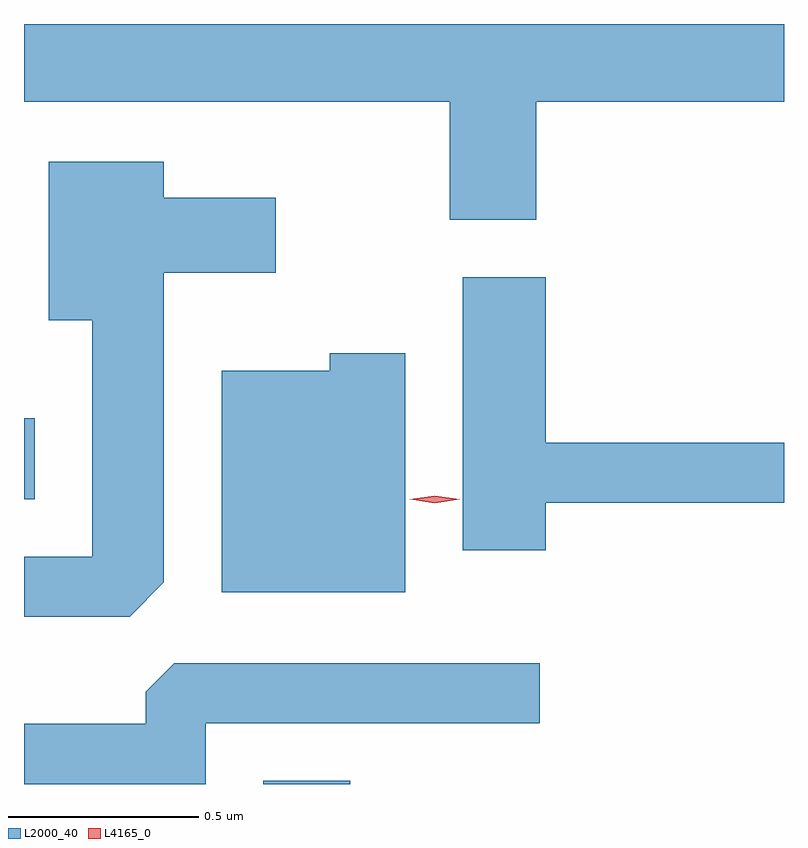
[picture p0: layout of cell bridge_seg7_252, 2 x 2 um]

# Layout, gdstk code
import gdstk
lib = gdstk.Library(unit=1e-6, precision=1e-09)
def R(c, l, rs):  # rectangles x0, y0, x1, y1
    for r in rs: c.add(gdstk.rectangle(r[:2], r[2:], *l))
def P(c, l, *ps):  # polygons
    for p in ps: c.add(gdstk.Polygon(p, *l))
L2000_40 = (2000, 40)
L4165_0 = (4165, 0)

bridge_seg7_252 = lib.new_cell('bridge_seg7_252')
R(bridge_seg7_252, L2000_40, [(1771.711,1694.761,1771.939,1694.769), (1771.081,1695.511,1771.109,1695.724)])
P(bridge_seg7_252, L2000_40, [(1772.429,1696.556),(1773.081,1696.556),(1773.081,1696.761),(1771.081,1696.761),(1771.081,1696.556),(1772.201,1696.556),(1772.201,1696.246),(1772.429,1696.246)],
  [(1771.449,1695.292),(1771.449,1696.106),(1771.744,1696.106),(1771.744,1696.304),(1771.449,1696.304),(1771.449,1696.399),(1771.146,1696.399),(1771.146,1695.981),(1771.261,1695.981),(1771.261,1695.359),(1771.081,1695.359),(1771.081,1695.201),(1771.359,1695.201)],
  [(1772.454,1695.501),(1773.081,1695.501),(1773.081,1695.659),(1772.454,1695.659),(1772.454,1696.094),(1772.236,1696.094),(1772.236,1695.376),(1772.454,1695.376)],
  [(1772.084,1695.894),(1771.886,1695.894),(1771.886,1695.849),(1771.601,1695.849),(1771.601,1695.266),(1772.084,1695.266)],
  [(1771.559,1694.921),(1772.438,1694.921),(1772.438,1695.079),(1771.477,1695.079),(1771.401,1695.004),(1771.401,1694.919),(1771.081,1694.919),(1771.081,1694.761),(1771.559,1694.761)])
P(bridge_seg7_252, L4165_0, [(1772.162,1695.5),(1772.096,1695.51),(1772.096,1695.51),(1772.096,1695.511),(1772.162,1695.52),(1772.228,1695.511),(1772.228,1695.51),(1772.228,1695.51)])

lib.write_gds('bridge_seg7_252.gds')
